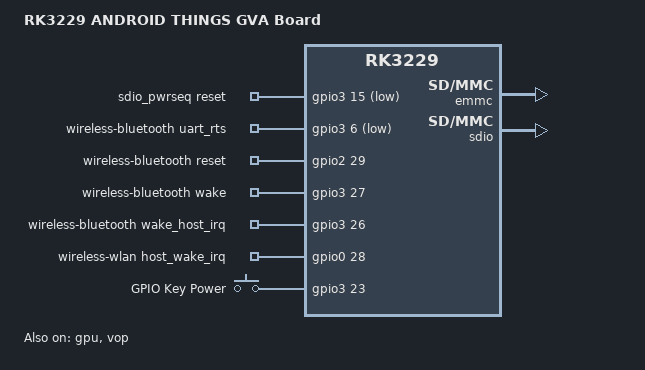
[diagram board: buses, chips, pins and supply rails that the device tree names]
/*
 * Copyright (c) 2017 Fuzhou Rockchip Electronics Co., Ltd
 *
 * This file is dual-licensed: you can use it either under the terms
 * of the GPL or the X11 license, at your option. Note that this dual
 * licensing only applies to this file, and not this project as a
 * whole.
 *
 *  a) This file is free software; you can redistribute it and/or
 *     modify it under the terms of the GNU General Public License as
 *     published by the Free Software Foundation; either version 2 of the
 *     License, or (at your option) any later version.
 *
 *     This file is distributed in the hope that it will be useful,
 *     but WITHOUT ANY WARRANTY; without even the implied warranty of
 *     MERCHANTABILITY or FITNESS FOR A PARTICULAR PURPOSE.  See the
 *     GNU General Public License for more details.
 *
 *  Or, alternatively,
 *
 *  b) Permission is hereby granted, free of charge, to any person
 *     obtaining a copy of this software and associated documentation
 *     files (the "Software"), to deal in the Software without
 *     restriction, including without limitation the rights to use,
 *     copy, modify, merge, publish, distribute, sublicense, and/or
 *     sell copies of the Software, and to permit persons to whom the
 *     Software is furnished to do so, subject to the following
 *     conditions:
 *
 *     The above copyright notice and this permission notice shall be
 *     included in all copies or substantial portions of the Software.
 *
 *     THE SOFTWARE IS PROVIDED "AS IS", WITHOUT WARRANTY OF ANY KIND,
 *     EXPRESS OR IMPLIED, INCLUDING BUT NOT LIMITED TO THE WARRANTIES
 *     OF MERCHANTABILITY, FITNESS FOR A PARTICULAR PURPOSE AND
 *     NONINFRINGEMENT. IN NO EVENT SHALL THE AUTHORS OR COPYRIGHT
 *     HOLDERS BE LIABLE FOR ANY CLAIM, DAMAGES OR OTHER LIABILITY,
 *     WHETHER IN AN ACTION OF CONTRACT, TORT OR OTHERWISE, ARISING
 *     FROM, OUT OF OR IN CONNECTION WITH THE SOFTWARE OR THE USE OR
 *     OTHER DEALINGS IN THE SOFTWARE.
 */

/dts-v1/;

#include "rk3229-at-som.dtsi"

/ {
	model = "RK3229 ANDROID THINGS GVA Board";
	compatible = "rockchip,rk3229-at-gva", "rockchip,rk3229";

	sdio_pwrseq: sdio-pwrseq {
		compatible = "mmc-pwrseq-simple";
		clocks = <&rk805 1>;
		clock-names = "ext_clock";
		pinctrl-names = "default";
		pinctrl-0 = <&wifi_enable_h>;

		/*
		 * On the module itself this is one of these (depending
		 * on the actual card populated):
		 * - SDIO_RESET_L_WL_REG_ON
		 * - PDN (power down when low)
		 */
		reset-gpios = <&gpio3 15 GPIO_ACTIVE_LOW>; /* GPIO3_B7 */
	};

	wireless-bluetooth {
		compatible = "bluetooth-platdata";
		clocks = <&rk805 1>;
		clock-names = "ext_clock";
		uart_rts_gpios = <&gpio3 6 GPIO_ACTIVE_LOW>;
		pinctrl-names = "default", "rts_gpio";
		pinctrl-0 = <&uart11_rts>;
		pinctrl-1 = <&uart11_rts_gpio>;
		BT,reset_gpio    = <&gpio2 29 GPIO_ACTIVE_HIGH>;
		BT,wake_gpio     = <&gpio3 27 GPIO_ACTIVE_HIGH>;
		BT,wake_host_irq = <&gpio3 26 GPIO_ACTIVE_HIGH>;
		status = "okay";
	};

	wireless-wlan {
		compatible = "wlan-platdata";
		rockchip,grf = <&grf>;
		wifi_chip_type = "ap6255";
		WIFI,host_wake_irq = <&gpio0 28 GPIO_ACTIVE_HIGH>;
		status = "okay";
	};

	gpio_keys {
		compatible = "gpio-keys";
		#address-cells = <1>;
		#size-cells = <0>;
		autorepeat;

		pinctrl-names = "default";
		pinctrl-0 = <&pwr_key>;

		power_key {
			label = "GPIO Key Power";
			gpios = <&gpio3 23 GPIO_ACTIVE_HIGH>;
			linux,code = <116>;
			debounce-interval = <100>;
			wakeup-source;
		};

	};
};

&emmc {
	/*
	 * enable emmc ddr mode, choose the
	 * according parameter base on the emmc
	 * io voltage.
	 */
	mmc-ddr-1_8v;
	//mmc-ddr-1_2v;
	status = "okay";
};

&gpu {
	status = "okay";
};

&nandc {
	status = "disabled";
};

&pinctrl {
	pinctrl-names = "default";
	/*
	 * sdmmc, pwm0, pwm2, ir, and spdif pins are defaultly set as gpio,
	 * if you want to enable it, please remove below besides fixed_gpio.
	 */
	pinctrl-0 = <&sdmmc_gpio &pwm0_gpio &pwm2_gpio
		     &ir_gpio &spdif_gpio &fixed_gpio>;

	keys {
		pwr_key: pwr-key {
			rockchip,pins = <3 RK_PC7 RK_FUNC_GPIO &pcfg_pull_down>;
		};
	};

	sdio-pwrseq {
		wifi_enable_h: wifi-enable-h {
			rockchip,pins = <3 RK_PB7 RK_FUNC_GPIO &pcfg_pull_none>;
		};
	};
};

&reboot_mode {
	/delete-property/ mode-bootloader;
};

&sdio {
	max-frequency = <150000000>;
	mmc-pwrseq = <&sdio_pwrseq>;
	num-slots = <1>;
	sd-uhs-sdr104;
	status = "okay";
};

/*
 * If sdmmc is enabled on hardware, set status to okay.
 * and remove the sdmmc_gpio from pinctrl-0 above.
 */
&sdmmc {
	bus-width = <4>;
	cap-mmc-highspeed;
	cap-sd-highspeed;
	card-detect-delay = <200>;
	disable-wp;
	max-frequency = <50000000>;
	num-slots = <1>;
	supports-sd;
	status = "disabled";
};

&vop {
	assigned-clocks = <&cru DCLK_VOP>;
	assigned-clock-parents = <&cru HDMIPHY>;
	status = "okay";
};

&vop_mmu {
	status = "okay";
};
